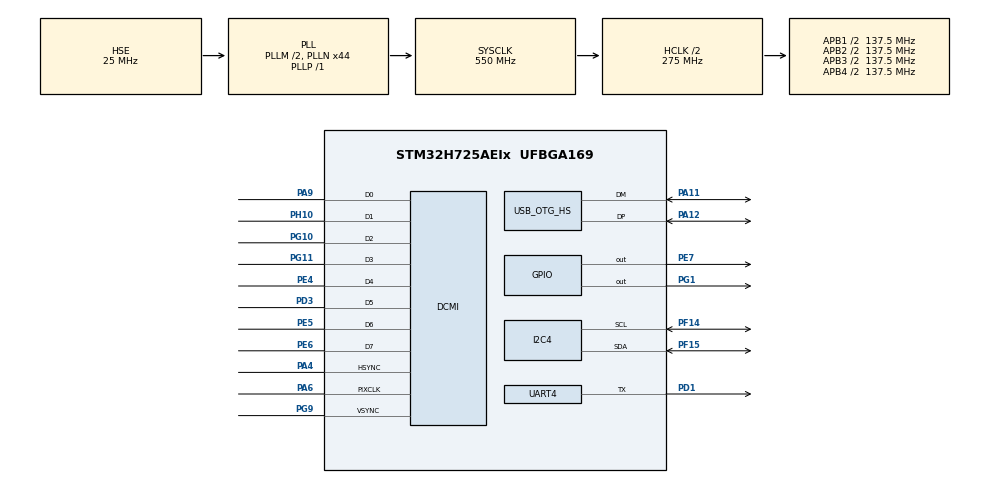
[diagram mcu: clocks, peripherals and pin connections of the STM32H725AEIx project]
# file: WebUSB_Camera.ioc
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CORTEX_M7.CPU_DCache=Enabled
CORTEX_M7.CPU_ICache=Enabled
DCMI.CaptureRate=DCMI_CR_ALL_FRAME
DCMI.JPEGMode=DCMI_JPEG_ENABLE
DCMI.PCKPolarity=DCMI_PCKPOLARITY_RISING
Dma.DCMI_PSSI.0.Direction=DMA_PERIPH_TO_MEMORY
Dma.DCMI_PSSI.0.EventEnable=DISABLE
Dma.DCMI_PSSI.0.FIFOMode=DMA_FIFOMODE_ENABLE
Dma.DCMI_PSSI.0.FIFOThreshold=DMA_FIFO_THRESHOLD_FULL
Dma.DCMI_PSSI.0.Instance=DMA2_Stream1
Dma.DCMI_PSSI.0.MemBurst=DMA_MBURST_SINGLE
Dma.DCMI_PSSI.0.MemDataAlignment=DMA_MDATAALIGN_WORD
Dma.DCMI_PSSI.0.MemInc=DMA_MINC_ENABLE
Dma.DCMI_PSSI.0.Mode=DMA_CIRCULAR
Dma.DCMI_PSSI.0.PeriphBurst=DMA_PBURST_SINGLE
Dma.DCMI_PSSI.0.PeriphDataAlignment=DMA_PDATAALIGN_WORD
Dma.DCMI_PSSI.0.PeriphInc=DMA_PINC_DISABLE
Dma.DCMI_PSSI.0.Polarity=HAL_DMAMUX_REQ_GEN_RISING
Dma.DCMI_PSSI.0.Priority=DMA_PRIORITY_HIGH
Dma.DCMI_PSSI.0.RequestNumber=1
Dma.DCMI_PSSI.0.SignalID=NONE
Dma.DCMI_PSSI.0.SyncEnable=DISABLE
Dma.DCMI_PSSI.0.SyncPolarity=HAL_DMAMUX_SYNC_NO_EVENT
Dma.DCMI_PSSI.0.SyncRequestNumber=1
Dma.DCMI_PSSI.0.SyncSignalID=NONE
Dma.Request0=DCMI_PSSI
FREERTOS.Tasks01=usbd,55,512,usb_device_task_handler,Default,NULL,Dynamic,NULL,NULL;cdc_task,8,256,cdc_task_handler,Default,NULL,Dynamic,NULL,NULL;webserial_task,8,256,webserial_task_handler,Default,NULL,Dynamic,NULL,NULL
FREERTOS.configTOTAL_HEAP_SIZE=32768
I2C4.Timing=0x60404E72
Mcu.Family=STM32H7
Mcu.Name=STM32H725AEIx
Mcu.Package=UFBGA169
NVIC.DCMI_PSSI_IRQn=true\:5\:0\:false\:false\:true\:true\:true\:true
NVIC.DMA2_Stream1_IRQn=true\:5\:0\:false\:false\:true\:false\:false\:true
NVIC.PriorityGroup=NVIC_PRIORITYGROUP_4
NVIC.TIM1_UP_IRQn=true\:0\:0\:false\:false\:true\:false\:false\:true
NVIC.TimeBase=TIM1_UP_IRQn
NVIC.TimeBaseIP=TIM1
PA11.Mode=Device_Only_FS
PA11.Signal=USB_OTG_HS_DM
PA12.Mode=Device_Only_FS
PA12.Signal=USB_OTG_HS_DP
PA4.Mode=Slave_8_bits_External_Synchro
PA4.Signal=DCMI_HSYNC
PA6.Mode=Slave_8_bits_External_Synchro
PA6.Signal=DCMI_PIXCLK
PA9.Mode=Slave_8_bits_External_Synchro
PA9.Signal=DCMI_D0
PC14-OSC32_IN.Mode=LSE-External-Oscillator
PC14-OSC32_IN.Signal=RCC_OSC32_IN
PC15-OSC32_OUT.Mode=LSE-External-Oscillator
PC15-OSC32_OUT.Signal=RCC_OSC32_OUT
PD1.GPIO_ModeDefaultOD=GPIO_MODE_AF_PP
PD1.Mode=Half_duplex(single_wire_mode)
PD1.Signal=UART4_TX
PD3.Mode=Slave_8_bits_External_Synchro
PD3.Signal=DCMI_D5
PE4.Mode=Slave_8_bits_External_Synchro
PE4.Signal=DCMI_D4
PE5.Mode=Slave_8_bits_External_Synchro
PE5.Signal=DCMI_D6
PE6.Mode=Slave_8_bits_External_Synchro
PE6.Signal=DCMI_D7
PE7.Signal=GPIO_Output
PF14.Mode=I2C
PF14.Signal=I2C4_SCL
PF15.Mode=I2C
PF15.Signal=I2C4_SDA
PG1.Signal=GPIO_Output
PG10.Mode=Slave_8_bits_External_Synchro
PG10.Signal=DCMI_D2
PG11.Mode=Slave_8_bits_External_Synchro
PG11.Signal=DCMI_D3
PG9.Mode=Slave_8_bits_External_Synchro
PG9.Signal=DCMI_VSYNC
PH0-OSC_IN.Mode=HSE-External-Oscillator
PH0-OSC_IN.Signal=RCC_OSC_IN
PH1-OSC_OUT.Mode=HSE-External-Oscillator
PH1-OSC_OUT.Signal=RCC_OSC_OUT
PH10.Mode=Slave_8_bits_External_Synchro
PH10.Signal=DCMI_D1
ProjectManager.HeapSize=0x200
ProjectManager.StackSize=0x400
ProjectManager.TargetToolchain=STM32CubeIDE
RCC.ADCFreq_Value=50390625
RCC.APB1Freq_Value=137500000
RCC.APB2Freq_Value=137500000
RCC.APB3Freq_Value=137500000
RCC.APB4Freq_Value=137500000
RCC.CortexFreq_Value=550000000
RCC.D1PPRE=RCC_APB3_DIV2
RCC.D2PPRE1=RCC_APB1_DIV2
RCC.D2PPRE2=RCC_APB2_DIV2
RCC.D3PPRE=RCC_APB4_DIV2
RCC.DIVM1=2
RCC.DIVM3=5
RCC.DIVN1=44
RCC.DIVN3=48
RCC.DIVP1=1
RCC.DIVQ3=5
RCC.HCLKFreq_Value=275000000
RCC.HPRE=RCC_HCLK_DIV2
RCC.PLL2FRACN=0
RCC.PLL3FRACN=0
RCC.PLLFRACN=0
RCC.PLLSourceVirtual=RCC_PLLSOURCE_HSE
RCC.SYSCLKFreq_VALUE=550000000
RCC.SYSCLKSource=RCC_SYSCLKSOURCE_PLLCLK
RCC.SupplySource=PWR_DIRECT_SMPS_SUPPLY
RCC.USBCLockSelection=RCC_USBCLKSOURCE_PLL3
RCC.USBFreq_Value=48000000
UART4.Mode=MODE_TX
USB_OTG_HS.DeviceSpeed-Device_HS=PCD_SPEED_FULL
USB_OTG_HS.VirtualMode-Device_Only_FS=Device_Only_FS
VP_FREERTOS_VS_CMSIS_V2.Mode=CMSIS_V2
VP_SYS_VS_tim1.Mode=TIM1
board=custom

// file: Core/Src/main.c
/* USER CODE BEGIN Header */
/**
  ******************************************************************************
  * @file           : main.c
  * @brief          : Main program body
  ******************************************************************************
  * @attention
  *
  * <h2><center>&copy; Copyright (c) 2021 STMicroelectronics.
  * All rights reserved.</center></h2>
  *
  * This software component is licensed by ST under BSD 3-Clause license,
  * the "License"; You may not use this file except in compliance with the
  * License. You may obtain a copy of the License at:
  *                        opensource.org/licenses/BSD-3-Clause
  *
  ******************************************************************************
  */
/* USER CODE END Header */
#include "main.h"
#include "cmsis_os.h"

/* USER CODE BEGIN Includes */
#include <stdarg.h>
#include <stdio.h>
#include <stdlib.h>
#include <string.h>
#include <stdbool.h>
#include "usb_descriptors.h"
#include "tusb.h"
#include "img.h"
#include "ov2640.h"
/* USER CODE END Includes */

/* USER CODE BEGIN PD */

#define min(a, b) (a) < (b) ? (a) : (b)

/* USER CODE END PD */

/* USER CODE BEGIN PM */

/* Blink pattern
 * - 250 ms  : device not mounted
 * - 1000 ms : device mounted
 * - 2500 ms : device is suspended
 */
enum  {
  BLINK_NOT_MOUNTED = 250,
  BLINK_MOUNTED     = 1000,
  BLINK_SUSPENDED   = 2500,

  BLINK_ALWAYS_ON   = UINT32_MAX,
  BLINK_ALWAYS_OFF  = 0
};

/* USER CODE END PM */

DCMI_HandleTypeDef hdcmi;
DMA_HandleTypeDef hdma_dcmi_pssi;

I2C_HandleTypeDef hi2c4;

UART_HandleTypeDef huart4;

PCD_HandleTypeDef hpcd_USB_OTG_HS;

/* Definitions for usbd */
osThreadId_t usbdHandle;
const osThreadAttr_t usbd_attributes = {
  .name = "usbd",
  .priority = (osPriority_t) osPriorityRealtime7,
  .stack_size = 512 * 4
};
/* Definitions for cdc_task */
osThreadId_t cdc_taskHandle;
const osThreadAttr_t cdc_task_attributes = {
  .name = "cdc_task",
  .priority = (osPriority_t) osPriorityLow,
  .stack_size = 256 * 4
};
/* Definitions for webserial_task */
osThreadId_t webserial_taskHandle;
const osThreadAttr_t webserial_task_attributes = {
  .name = "webserial_task",
  .priority = (osPriority_t) osPriorityLow,
  .stack_size = 256 * 4
};
/* USER CODE BEGIN PV */

static uint32_t blink_interval_ms = BLINK_NOT_MOUNTED;

#define URL  "127.0.0.1"

uint8_t image_header[8] = {'+', '+', '+', '+', 0, 0, 0, 0};

const tusb_desc_webusb_url_t desc_url =
{
  .bLength         = 3 + sizeof(URL) - 1,
  .bDescriptorType = 3, // WEBUSB URL type
  .bScheme         = 0, // 0: http, 1: https
  .url             = URL
};

static bool web_serial_connected = false;

static uint8_t buffer[320*240*2];
static uint8_t jpeg_buffer[32*1024];
static uint8_t libjpeg_buffer[1024];

static Frame_TypeDef frame = {
		.buffer = buffer,
		.length = sizeof(buffer),
		.width = 320,
		.height = 240
};
static OV2640_TypeDef OV2640 = {
		.dcmi = &hdcmi,
		.dma = &hdma_dcmi_pssi,
		.i2c = &hi2c4,
		.frame = &frame
};

/* USER CODE END PV */

void SystemClock_Config(void);
static void MX_GPIO_Init(void);
static void MX_DMA_Init(void);
static void MX_UART4_Init(void);
static void MX_USB_OTG_HS_PCD_Init(void);
static void MX_DCMI_Init(void);
static void MX_I2C4_Init(void);
void usb_device_task_handler(void *argument);
void cdc_task_handler(void *argument);
void webserial_task_handler(void *argument);

/* USER CODE BEGIN 0 */
void LOG(const char *format, ...) {
    char print_buf[256] = { 0 };

    va_list args;
    va_start(args, format);
    int r = vsnprintf(print_buf, sizeof(print_buf), format, args);
    va_end(args);

    if (r > 0) {
    	HAL_UART_Transmit(&huart4, (uint8_t *)print_buf, (uint16_t)strlen(print_buf), 200);
    }
}
void USB_Init()
{
	GPIO_InitTypeDef GPIO_InitStruct;

	/* Configure USB HS GPIOs */
	/* Configure DM DP Pins */
	GPIO_InitStruct.Pin = (GPIO_PIN_11 | GPIO_PIN_12);
	GPIO_InitStruct.Mode = GPIO_MODE_AF_PP;
	GPIO_InitStruct.Pull = GPIO_NOPULL;
	GPIO_InitStruct.Speed = GPIO_SPEED_FREQ_HIGH;
	GPIO_InitStruct.Alternate = GPIO_AF10_OTG1_FS;
	HAL_GPIO_Init(GPIOA, &GPIO_InitStruct);

	__HAL_RCC_USB1_OTG_HS_CLK_ENABLE();

	// No VBUS sense
	USB_OTG_HS->GCCFG &= ~USB_OTG_GCCFG_VBDEN;

	// B-peripheral session valid override enable
	USB_OTG_HS->GOTGCTL |= USB_OTG_GOTGCTL_BVALOEN;
	USB_OTG_HS->GOTGCTL |= USB_OTG_GOTGCTL_BVALOVAL;

	// Force device mode
	USB_OTG_HS->GUSBCFG &= ~USB_OTG_GUSBCFG_FHMOD;
	USB_OTG_HS->GUSBCFG |= USB_OTG_GUSBCFG_FDMOD;

	HAL_PWREx_EnableUSBVoltageDetector();
}
/* USER CODE END 0 */

int main(void)
{

  /* Enable I-Cache---------------------------------------------------------*/
  SCB_EnableICache();

  /* Enable D-Cache---------------------------------------------------------*/
  SCB_EnableDCache();

  /* MCU Configuration--------------------------------------------------------*/

  /* Reset of all peripherals, Initializes the Flash interface and the Systick. */
  HAL_Init();

  /* Configure the system clock */
  SystemClock_Config();

  /* Initialize all configured peripherals */
  MX_GPIO_Init();
  MX_DMA_Init();
  MX_UART4_Init();
  MX_USB_OTG_HS_PCD_Init();
  MX_DCMI_Init();
  MX_I2C4_Init();
  /* USER CODE BEGIN 2 */
  USB_Init();
  NVIC_SetPriority(OTG_HS_IRQn, configLIBRARY_MAX_SYSCALL_INTERRUPT_PRIORITY );

//  JFILE input = {
//      .buffer = gImage_rgb565,
//      .index = 0
//  };
//
//  JFILE output = {
//      .buffer = jpeg_buffer,
//      .index = 0
//  };
//
//  uint32_t count = HAL_GetTick();
//
//  jpeg_encode(&input, &output, 320, 240, 90, libjpeg_buffer);
//
//  LOG("JPEG take: %d\n\r", HAL_GetTick()-count);
//
//  LOG("length: %d\n\r", output.index);
//
//  for(int i = 0; i < 32; i++){
//      for(int j = 0; j < 32; j++){
//          LOG("%02x ", buffer[i*32 + j]);
//      }
//      LOG("\n\r");
//  }
//   while(1){};

  OV2640_Init(&OV2640);
  OV2640_ReadID(&(OV2640.ID));
  LOG("ID: %02X %02X \n\r", OV2640.ID.PIDH, OV2640.ID.PIDL);
  OV2640_UXGAConfig();
  OV2640_Start();

  /* USER CODE END 2 */

  /* Init scheduler */
  osKernelInitialize();

  /* Create the thread(s) */
  /* creation of usbd */
  usbdHandle = osThreadNew(usb_device_task_handler, NULL, &usbd_attributes);

  /* creation of cdc_task */
  cdc_taskHandle = osThreadNew(cdc_task_handler, NULL, &cdc_task_attributes);

  /* creation of webserial_task */
  webserial_taskHandle = osThreadNew(webserial_task_handler, NULL, &webserial_task_attributes);

  /* Start scheduler */
  osKernelStart();

  /* We should never get here as control is now taken by the scheduler */
  /* Infinite loop */
  while (1)
  {

  }
}

void SystemClock_Config(void)
{
  RCC_OscInitTypeDef RCC_OscInitStruct = {0};
  RCC_ClkInitTypeDef RCC_ClkInitStruct = {0};
  RCC_PeriphCLKInitTypeDef PeriphClkInitStruct = {0};

  /** Supply configuration update enable
  */
  HAL_PWREx_ConfigSupply(PWR_DIRECT_SMPS_SUPPLY);
  /** Configure the main internal regulator output voltage
  */
  __HAL_PWR_VOLTAGESCALING_CONFIG(PWR_REGULATOR_VOLTAGE_SCALE0);

  while(!__HAL_PWR_GET_FLAG(PWR_FLAG_VOSRDY)) {}
  /** Macro to configure the PLL clock source
  */
  __HAL_RCC_PLL_PLLSOURCE_CONFIG(RCC_PLLSOURCE_HSE);
  /** Initializes the RCC Oscillators according to the specified parameters
  * in the RCC_OscInitTypeDef structure.
  */
  RCC_OscInitStruct.OscillatorType = RCC_OSCILLATORTYPE_HSE;
  RCC_OscInitStruct.HSEState = RCC_HSE_ON;
  RCC_OscInitStruct.PLL.PLLState = RCC_PLL_ON;
  RCC_OscInitStruct.PLL.PLLSource = RCC_PLLSOURCE_HSE;
  RCC_OscInitStruct.PLL.PLLM = 2;
  RCC_OscInitStruct.PLL.PLLN = 44;
  RCC_OscInitStruct.PLL.PLLP = 1;
  RCC_OscInitStruct.PLL.PLLQ = 2;
  RCC_OscInitStruct.PLL.PLLR = 2;
  RCC_OscInitStruct.PLL.PLLRGE = RCC_PLL1VCIRANGE_3;
  RCC_OscInitStruct.PLL.PLLVCOSEL = RCC_PLL1VCOWIDE;
  RCC_OscInitStruct.PLL.PLLFRACN = 0;
  if (HAL_RCC_OscConfig(&RCC_OscInitStruct) != HAL_OK)
  {
    Error_Handler();
  }
  /** Initializes the CPU, AHB and APB buses clocks
  */
  RCC_ClkInitStruct.ClockType = RCC_CLOCKTYPE_HCLK|RCC_CLOCKTYPE_SYSCLK
                              |RCC_CLOCKTYPE_PCLK1|RCC_CLOCKTYPE_PCLK2
                              |RCC_CLOCKTYPE_D3PCLK1|RCC_CLOCKTYPE_D1PCLK1;
  RCC_ClkInitStruct.SYSCLKSource = RCC_SYSCLKSOURCE_PLLCLK;
  RCC_ClkInitStruct.SYSCLKDivider = RCC_SYSCLK_DIV1;
  RCC_ClkInitStruct.AHBCLKDivider = RCC_HCLK_DIV2;
  RCC_ClkInitStruct.APB3CLKDivider = RCC_APB3_DIV2;
  RCC_ClkInitStruct.APB1CLKDivider = RCC_APB1_DIV2;
  RCC_ClkInitStruct.APB2CLKDivider = RCC_APB2_DIV2;
  RCC_ClkInitStruct.APB4CLKDivider = RCC_APB4_DIV2;

  if (HAL_RCC_ClockConfig(&RCC_ClkInitStruct, FLASH_LATENCY_3) != HAL_OK)
  {
    Error_Handler();
  }
  PeriphClkInitStruct.PeriphClockSelection = RCC_PERIPHCLK_UART4|RCC_PERIPHCLK_I2C4
                              |RCC_PERIPHCLK_USB;
  PeriphClkInitStruct.PLL3.PLL3M = 5;
  PeriphClkInitStruct.PLL3.PLL3N = 48;
  PeriphClkInitStruct.PLL3.PLL3P = 2;
  PeriphClkInitStruct.PLL3.PLL3Q = 5;
  PeriphClkInitStruct.PLL3.PLL3R = 2;
  PeriphClkInitStruct.PLL3.PLL3RGE = RCC_PLL3VCIRANGE_2;
  PeriphClkInitStruct.PLL3.PLL3VCOSEL = RCC_PLL3VCOWIDE;
  PeriphClkInitStruct.PLL3.PLL3FRACN = 0;
  PeriphClkInitStruct.Usart234578ClockSelection = RCC_USART234578CLKSOURCE_D2PCLK1;
  PeriphClkInitStruct.UsbClockSelection = RCC_USBCLKSOURCE_PLL3;
  PeriphClkInitStruct.I2c4ClockSelection = RCC_I2C4CLKSOURCE_D3PCLK1;
  if (HAL_RCCEx_PeriphCLKConfig(&PeriphClkInitStruct) != HAL_OK)
  {
    Error_Handler();
  }
  /** Enable USB Voltage detector
  */
  HAL_PWREx_EnableUSBVoltageDetector();
}

static void MX_DCMI_Init(void)
{

  /* USER CODE BEGIN DCMI_Init 0 */
  __HAL_RCC_DCMI_CLK_ENABLE();
  /* USER CODE END DCMI_Init 0 */

  hdcmi.Instance = DCMI;
  hdcmi.Init.SynchroMode = DCMI_SYNCHRO_HARDWARE;
  hdcmi.Init.PCKPolarity = DCMI_PCKPOLARITY_RISING;
  hdcmi.Init.VSPolarity = DCMI_VSPOLARITY_LOW;
  hdcmi.Init.HSPolarity = DCMI_HSPOLARITY_LOW;
  hdcmi.Init.CaptureRate = DCMI_CR_ALL_FRAME;
  hdcmi.Init.ExtendedDataMode = DCMI_EXTEND_DATA_8B;
  hdcmi.Init.JPEGMode = DCMI_JPEG_ENABLE;
  hdcmi.Init.ByteSelectMode = DCMI_BSM_ALL;
  hdcmi.Init.ByteSelectStart = DCMI_OEBS_ODD;
  hdcmi.Init.LineSelectMode = DCMI_LSM_ALL;
  hdcmi.Init.LineSelectStart = DCMI_OELS_ODD;
  if (HAL_DCMI_Init(&hdcmi) != HAL_OK)
  {
    Error_Handler();
  }
  /* USER CODE BEGIN DCMI_Init 2 */
	HAL_NVIC_SetPriority(DCMI_IRQn, 0 ,5);
	HAL_NVIC_EnableIRQ(DCMI_IRQn);
  /* USER CODE END DCMI_Init 2 */

}

static void MX_I2C4_Init(void)
{

  hi2c4.Instance = I2C4;
  hi2c4.Init.Timing = 0x60404E72;
  hi2c4.Init.OwnAddress1 = 0;
  hi2c4.Init.AddressingMode = I2C_ADDRESSINGMODE_7BIT;
  hi2c4.Init.DualAddressMode = I2C_DUALADDRESS_DISABLE;
  hi2c4.Init.OwnAddress2 = 0;
  hi2c4.Init.OwnAddress2Masks = I2C_OA2_NOMASK;
  hi2c4.Init.GeneralCallMode = I2C_GENERALCALL_DISABLE;
  hi2c4.Init.NoStretchMode = I2C_NOSTRETCH_DISABLE;
  if (HAL_I2C_Init(&hi2c4) != HAL_OK)
  {
    Error_Handler();
  }
  /** Configure Analogue filter
  */
  if (HAL_I2CEx_ConfigAnalogFilter(&hi2c4, I2C_ANALOGFILTER_ENABLE) != HAL_OK)
  {
    Error_Handler();
  }
  /** Configure Digital filter
  */
  if (HAL_I2CEx_ConfigDigitalFilter(&hi2c4, 0) != HAL_OK)
  {
    Error_Handler();
  }

}

static void MX_UART4_Init(void)
{

  huart4.Instance = UART4;
  huart4.Init.BaudRate = 115200;
  huart4.Init.WordLength = UART_WORDLENGTH_8B;
  huart4.Init.StopBits = UART_STOPBITS_1;
  huart4.Init.Parity = UART_PARITY_NONE;
  huart4.Init.Mode = UART_MODE_TX;
  huart4.Init.HwFlowCtl = UART_HWCONTROL_NONE;
  huart4.Init.OverSampling = UART_OVERSAMPLING_16;
  huart4.Init.OneBitSampling = UART_ONE_BIT_SAMPLE_DISABLE;
  huart4.Init.ClockPrescaler = UART_PRESCALER_DIV1;
  huart4.AdvancedInit.AdvFeatureInit = UART_ADVFEATURE_NO_INIT;
  if (HAL_HalfDuplex_Init(&huart4) != HAL_OK)
  {
    Error_Handler();
  }
  if (HAL_UARTEx_SetTxFifoThreshold(&huart4, UART_TXFIFO_THRESHOLD_1_8) != HAL_OK)
  {
    Error_Handler();
  }
  if (HAL_UARTEx_SetRxFifoThreshold(&huart4, UART_RXFIFO_THRESHOLD_1_8) != HAL_OK)
  {
    Error_Handler();
  }
  if (HAL_UARTEx_DisableFifoMode(&huart4) != HAL_OK)
  {
    Error_Handler();
  }

}

static void MX_USB_OTG_HS_PCD_Init(void)
{

  hpcd_USB_OTG_HS.Instance = USB_OTG_HS;
  hpcd_USB_OTG_HS.Init.dev_endpoints = 9;
  hpcd_USB_OTG_HS.Init.speed = PCD_SPEED_FULL;
  hpcd_USB_OTG_HS.Init.dma_enable = DISABLE;
  hpcd_USB_OTG_HS.Init.phy_itface = USB_OTG_EMBEDDED_PHY;
  hpcd_USB_OTG_HS.Init.Sof_enable = DISABLE;
  hpcd_USB_OTG_HS.Init.low_power_enable = DISABLE;
  hpcd_USB_OTG_HS.Init.lpm_enable = DISABLE;
  hpcd_USB_OTG_HS.Init.battery_charging_enable = ENABLE;
  hpcd_USB_OTG_HS.Init.vbus_sensing_enable = DISABLE;
  hpcd_USB_OTG_HS.Init.use_dedicated_ep1 = DISABLE;
  hpcd_USB_OTG_HS.Init.use_external_vbus = DISABLE;
  if (HAL_PCD_Init(&hpcd_USB_OTG_HS) != HAL_OK)
  {
    Error_Handler();
  }

}

static void MX_DMA_Init(void)
{

  /* DMA controller clock enable */
  __HAL_RCC_DMA2_CLK_ENABLE();

  /* DMA interrupt init */
  /* DMA2_Stream1_IRQn interrupt configuration */
  HAL_NVIC_SetPriority(DMA2_Stream1_IRQn, 5, 0);
  HAL_NVIC_EnableIRQ(DMA2_Stream1_IRQn);

}

static void MX_GPIO_Init(void)
{
  GPIO_InitTypeDef GPIO_InitStruct = {0};

  /* GPIO Ports Clock Enable */
  __HAL_RCC_GPIOE_CLK_ENABLE();
  __HAL_RCC_GPIOG_CLK_ENABLE();
  __HAL_RCC_GPIOC_CLK_ENABLE();
  __HAL_RCC_GPIOD_CLK_ENABLE();
  __HAL_RCC_GPIOA_CLK_ENABLE();
  __HAL_RCC_GPIOH_CLK_ENABLE();
  __HAL_RCC_GPIOF_CLK_ENABLE();

  /*Configure GPIO pin Output Level */
  HAL_GPIO_WritePin(GPIOE, GPIO_PIN_7, GPIO_PIN_RESET);

  /*Configure GPIO pin Output Level */
  HAL_GPIO_WritePin(GPIOG, GPIO_PIN_1, GPIO_PIN_RESET);

  /*Configure GPIO pin : PE7 */
  GPIO_InitStruct.Pin = GPIO_PIN_7;
  GPIO_InitStruct.Mode = GPIO_MODE_OUTPUT_PP;
  GPIO_InitStruct.Pull = GPIO_NOPULL;
  GPIO_InitStruct.Speed = GPIO_SPEED_FREQ_LOW;
  HAL_GPIO_Init(GPIOE, &GPIO_InitStruct);

  /*Configure GPIO pin : PG1 */
  GPIO_InitStruct.Pin = GPIO_PIN_1;
  GPIO_InitStruct.Mode = GPIO_MODE_OUTPUT_PP;
  GPIO_InitStruct.Pull = GPIO_NOPULL;
  GPIO_InitStruct.Speed = GPIO_SPEED_FREQ_LOW;
  HAL_GPIO_Init(GPIOG, &GPIO_InitStruct);

}

/* USER CODE BEGIN 4 */

//--------------------------------------------------------------------+

// Invoked when cdc when line state changed e.g connected/disconnected
void tud_cdc_line_state_cb(uint8_t itf, bool dtr, bool rts)
{
  (void) itf;
  (void) rts;

  // TODO set some indicator
  if ( dtr )
  {
    // Terminal connected
  }else
  {
    // Terminal disconnected
  }
}

// Invoked when CDC interface received data from host
void tud_cdc_rx_cb(uint8_t itf)
{
  (void) itf;
}

//--------------------------------------------------------------------+
// BLINKING TASK
//--------------------------------------------------------------------+
//void led_blinky_cb(TimerHandle_t xTimer)
//{
//  (void) xTimer;
//  static bool led_state = false;
//
//  board_led_write(led_state);
//  led_state = 1 - led_state; // toggle
//}
// Invoked when a control transfer occurred on an interface of this class
// Driver response accordingly to the request and the transfer stage (setup/data/ack)
// return false to stall control endpoint (e.g unsupported request)
bool tud_vendor_control_xfer_cb(uint8_t rhport, uint8_t stage, tusb_control_request_t const * request)
{
  // nothing to with DATA & ACK stage
  if (stage != CONTROL_STAGE_SETUP) return true;

  switch (request->bmRequestType_bit.type)
  {
    case TUSB_REQ_TYPE_VENDOR:
      switch (request->bRequest)
      {
        case VENDOR_REQUEST_WEBUSB:
          // match vendor request in BOS descriptor
          // Get landing page url
          return tud_control_xfer(rhport, request, (void*) &desc_url, desc_url.bLength);

        case VENDOR_REQUEST_MICROSOFT:
          if ( request->wIndex == 7 )
          {
            // Get Microsoft OS 2.0 compatible descriptor
            uint16_t total_len;
            memcpy(&total_len, desc_ms_os_20+8, 2);

            return tud_control_xfer(rhport, request, (void*) desc_ms_os_20, total_len);
          }else
          {
            return false;
          }

        default: break;
      }
    break;

    case TUSB_REQ_TYPE_CLASS:
      if (request->bRequest == 0x22)
      {
        // Webserial simulate the CDC_REQUEST_SET_CONTROL_LINE_STATE (0x22) to connect and disconnect.
        web_serial_connected = (request->wValue != 0);

        // Always lit LED if connected
        if ( web_serial_connected )
        {

          blink_interval_ms = BLINK_ALWAYS_ON;

          //tud_vendor_write_str("\r\nTinyUSB WebUSB device example\r\n");
        }else
        {
          blink_interval_ms = BLINK_MOUNTED;
        }

        // response with status OK
        return tud_control_status(rhport, request);
      }
    break;

    default: break;
  }

  // stall unknown request
  return false;
}

// send characters to both CDC and WebUSB
void echo_all(uint8_t buf[], uint32_t count)
{
  // echo to web serial
  if ( web_serial_connected )
  {
    tud_vendor_write(buf, count);
  }

  // echo to cdc
  if ( tud_cdc_connected() )
  {
    for(uint32_t i=0; i<count; i++)
    {
      tud_cdc_write_char(buf[i]);

      if ( buf[i] == '\r' ) tud_cdc_write_char('\n');
    }
    tud_cdc_write_flush();
  }
}

/* USER CODE END 4 */

void usb_device_task_handler(void *argument)
{
  /* USER CODE BEGIN 5 */
  tusb_init();
  /* Infinite loop */
  for(;;)
  {
	tud_task();
  }
  /* USER CODE END 5 */
}

void cdc_task_handler(void *argument)
{
  /* USER CODE BEGIN cdc_task_handler */
  /* Infinite loop */
  for(;;)
  {
    osDelay(1000);
  }
  /* USER CODE END cdc_task_handler */
}

void webserial_task_handler(void *argument)
{
  /* USER CODE BEGIN webserial_task_handler */
  /* Infinite loop */
  uint8_t index = 0;
  for(;;)
  {
	  if ( web_serial_connected )
	  {
		 uint32_t time_count = HAL_GetTick();
		 if(OV2640.time_show  == 1){

	    JFILE input = {
	    		.buffer = buffer,
				.index = 0
	    };

		JFILE output = {
				.buffer = jpeg_buffer,
				.index = 0
		};

	    jpeg_encode(&input, &output, 320, 240, 50, libjpeg_buffer);

		uint32_t sentSize = 0;
		uint32_t imgSize = output.index;
		uint8_t *img = jpeg_buffer;

		image_header[4] = (imgSize & 0xFF000000) >> 24;
		image_header[5] = (imgSize & 0xFF0000) >> 16;
		image_header[6] = (imgSize & 0xFF00) >> 8;
		image_header[7] = (imgSize & 0xFF);
		tud_vendor_write(image_header, 8);
		while(1)
		{
			const uint32_t sendSize = min(imgSize - sentSize, 2048);
			sentSize += tud_vendor_write(&img[sentSize], sendSize);
			if(sentSize == imgSize)
			{
				break;
			}
		}
		OV2640.time_show = 0;
		OV2640_Start();
		LOG("Take time:%d\n\r", HAL_GetTick() - time_count);
		}
	  }
  }
  /* USER CODE END webserial_task_handler */
}

 /**
  * @brief  Period elapsed callback in non blocking mode
  * @note   This function is called  when TIM1 interrupt took place, inside
  * HAL_TIM_IRQHandler(). It makes a direct call to HAL_IncTick() to increment
  * a global variable "uwTick" used as application time base.
  * @param  htim : TIM handle
  * @retval None
  */
void HAL_TIM_PeriodElapsedCallback(TIM_HandleTypeDef *htim)
{
  if (htim->Instance == TIM1) {
    HAL_IncTick();
  }
}

void Error_Handler(void)
{
  __disable_irq();
  while (1)
  {
  }
}

/************************ (C) COPYRIGHT STMicroelectronics *****END OF FILE****/
